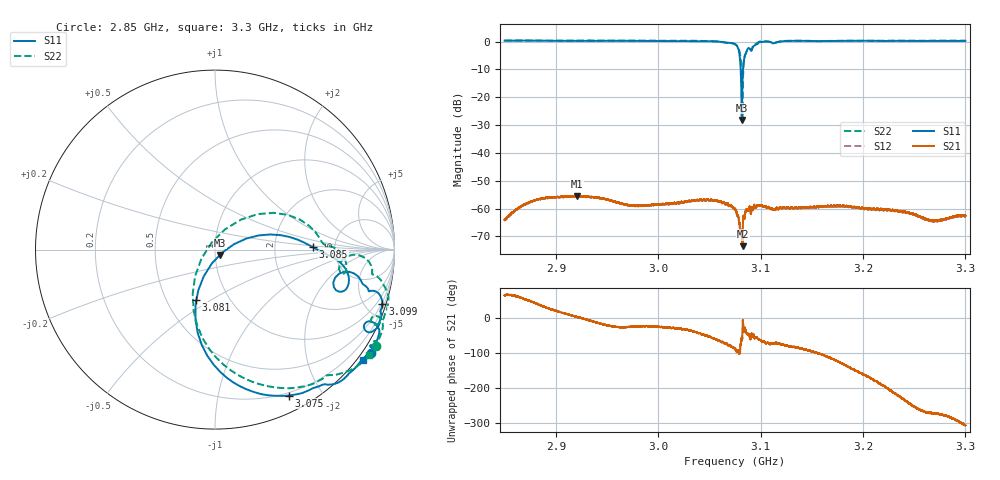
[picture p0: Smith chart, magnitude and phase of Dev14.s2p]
!Agilent Technologies,N5230C,SG49000117,A.08.50.07
!Agilent N5230C: A.08.50.07
!Date: Wednesday, April 17, 2024 18:31:56
!Correction: S11(Full 2 Port(1,2))
!S21(Full 2 Port(1,2))
!S12(Full 2 Port(1,2))
!S22(Full 2 Port(1,2))
!S2P File: Measurements: S11, S21, S12, S22:
# Hz S  MA  R 50
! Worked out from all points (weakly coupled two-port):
!   20001 points, 2.85 GHz to 3.3 GHz, reference 50 ohm
!   highest |S21| = -55.55 dB at 2.921 GHz (marker M1); lowest = -73.5 dB at 3.082 GHz (marker M2)
!   lowest |S11| = -28.1 dB at 3.082 GHz (marker M3), VSWR 1.08, Z = 52.6 - j3.07 ohm
!   |S11| at or under -10 dB: 3.080538 GHz to 3.082818 GHz (2.28 MHz wide, 0.074 % of centre)
!   |S22| runs from -28.2 to 0.4 dB; largest |S21 - S12| = 8.3e-05
!   S11 on the Smith chart (normalised r, x): 2.85 GHz: -0.26, -3.32; 3.075 GHz: 0.17, -1.61; 3.081 GHz: 0.70, -0.43; 3.085 GHz: 3.40, +0.13; 3.099 GHz: 0.42, -6.32; 3.3 GHz: -0.15, -3.00
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2.85e9  1.044 -33.4  0.000631 64.6  0.0006152 63.3  1.046 -31.0
2.880645e9  1.043 -32.5  0.001442 40.9  0.001415 39.4  1.045 -31.3
2.920718e9  1.034 -33.7  0.00167 2.6  0.001638 1.4  1.049 -32.7
2.925015e9  1.031 -33.9  0.00164 -0.9  0.00163 -2.3  1.05 -32.7
3.000008e9  1.026 -36.3  0.001194 -25.4  0.001171 -26.9  1.041 -34.5
3.054502e9  1.015 -45.8  0.001418 -59.2  0.001385 -60.5  1.018 -40.6
3.069172e9  0.9537 -53.4  0.001159 -77.0  0.001127 -78.7  0.9395 -48.1
3.074662e9  0.9106 -63.2  0.0009903 -87.2  0.0009756 -87.8  0.9079 -57.2
3.075e9  0.9036 -64.4  0.0009766 -89.4  0.0009588 -91.0  0.9013 -58.1
3.078195e9  0.7446 -82.4  0.0007182 -95.7  0.0007015 -98.6  0.7781 -72.9
3.080602e9  0.2985 -110.5  0.0003708 -77.8  0.0003419 -81.9  0.4735 -100.0
3.081592e9  0.03925 -48.0  0.0003812 -65.3  0.0003865 -59.5  0.2056 -124.2
3.082358e9  0.2141 19.2  0.0002115 -34.7  0.0002176 -37.4  0.0708 82.8
3.08373e9  0.4634 6.9  0.0007025 -38.6  0.0007171 -39.5  0.4561 24.8
3.084562e9  0.5457 1.4  0.0007063 -28.1  0.0007273 -32.1  0.5657 10.3
3.086992e9  0.7232 -7.3  0.0009252 -45.7  0.0009243 -47.5  0.705 -1.7
3.099098e9  0.98 -17.9  0.001122 -63.0  0.001117 -65.2  1.002 -15.3
3.108728e9  0.9922 -27.1  0.001042 -75.0  0.001023 -77.0  0.9979 -24.6
3.150015e9  1.03 -31.7  0.001067 -96.0  0.001046 -97.9  1.034 -29.9
3.225008e9  1.031 -33.6  0.0009745 156.1  0.0009507 155.6  1.04 -32.3
3.267735e9  1.031 -35.2  0.000614 87.4  0.0006076 84.9  1.041 -33.3
3.3e9  1.031 -36.8  0.0007439 53.4  0.0007256 52.2  1.04 -34.5
